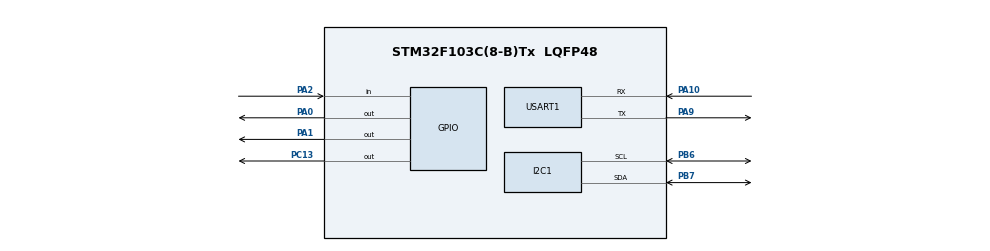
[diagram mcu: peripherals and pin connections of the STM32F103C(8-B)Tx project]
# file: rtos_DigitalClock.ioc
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I2C1.I2C_Mode=I2C_Standard
Mcu.Family=STM32F1
Mcu.Name=STM32F103C(8-B)Tx
Mcu.Package=LQFP48
NVIC.PriorityGroup=NVIC_PRIORITYGROUP_4
NVIC.TIM4_IRQn=true\:15\:0\:false\:false\:true\:false\:true\:true
NVIC.TimeBase=TIM4_IRQn
NVIC.TimeBaseIP=TIM4
PA0-WKUP.Signal=GPIO_Output
PA1.Signal=GPIO_Output
PA10.Mode=Asynchronous
PA10.Signal=USART1_RX
PA2.Signal=GPIO_Input
PA9.Mode=Asynchronous
PA9.Signal=USART1_TX
PB6.Mode=I2C
PB6.Signal=I2C1_SCL
PB7.Mode=I2C
PB7.Signal=I2C1_SDA
PC13-TAMPER-RTC.Signal=GPIO_Output
ProjectManager.HeapSize=0x200
ProjectManager.StackSize=0x400
ProjectManager.TargetToolchain=STM32CubeIDE
RCC.APB1Freq_Value=8000000
RCC.APB2Freq_Value=8000000
RTC.Hours=15
RTC.Minutes=31
RTC.Month=RTC_MONTH_NOVEMBER
RTC.WeekDay=RTC_WEEKDAY_FRIDAY
USART1.VirtualMode=VM_ASYNC
VP_RTC_VS_RTC_Activate.Mode=RTC_Enabled
VP_RTC_VS_RTC_Calendar.Mode=RTC_Calendar
VP_SYS_VS_ND.Mode=No_Debug
VP_SYS_VS_tim4.Mode=TIM4
board=custom

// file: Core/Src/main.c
/* USER CODE BEGIN Header */
/**
  ******************************************************************************
  * @file           : main.c
  * @brief          : Main program body
  ******************************************************************************
  * @attention
  *
  * Copyright (c) 2025 STMicroelectronics.
  * All rights reserved.
  *
  * This software is licensed under terms that can be found in the LICENSE file
  * in the root directory of this software component.
  * If no LICENSE file comes with this software, it is provided AS-IS.
  *
  ******************************************************************************
  */
/* USER CODE END Header */
#include "main.h"

/* USER CODE BEGIN Includes */
#include "FreeRTOS.h"
#include "task.h"
#include "semphr.h"
#include "lcd.h"
/* USER CODE END Includes */

I2C_HandleTypeDef hi2c1;

RTC_HandleTypeDef hrtc;

UART_HandleTypeDef huart1;

/* USER CODE BEGIN PV */
RTC_TimeTypeDef gTime;

//typedef struct {
//	uint8_t hour_up;
//	uint8_t hour_low;
//	uint8_t min_up;
//	uint8_t min_low;
//	uint8_t sec_up;
//	uint8_t sec_low;
//ime;
//
//Time time;

uint8_t time[11]={'0','0',':','0','0',':','0','0','\0','\n','\r'};

/* USER CODE END PV */

void SystemClock_Config(void);
static void MX_GPIO_Init(void);
static void MX_I2C1_Init(void);
static void MX_RTC_Init(void);
static void MX_USART1_UART_Init(void);
/* USER CODE BEGIN PFP */
void RTC_handler(void *pvparameter);
void RTC_ProceesData_handler(void *pvparameter);
void Uart_handler(void *pvparameter);
void Lcd_handler(void *pvparameter);
/* USER CODE END PFP */

/* USER CODE BEGIN 0 */
TaskHandle_t RTC_handle,RTC_ProceesData_handle,Uart_handle,Lcd_handle;
SemaphoreHandle_t mutex_RTC_rawData,mutex_Time;

/* USER CODE END 0 */

int main(void)
{

  /* USER CODE BEGIN 1 */
	BaseType_t status;
  /* USER CODE END 1 */

  /* MCU Configuration--------------------------------------------------------*/

  /* Reset of all peripherals, Initializes the Flash interface and the Systick. */
  HAL_Init();

  /* Configure the system clock */
  SystemClock_Config();

  /* Initialize all configured peripherals */
  MX_GPIO_Init();
  MX_I2C1_Init();
  MX_RTC_Init();
  MX_USART1_UART_Init();
  /* USER CODE BEGIN 2 */
  	  status = xTaskCreate(RTC_handler, "periodicled_task", 200, NULL, 3, &RTC_handle);
      configASSERT(status == pdPASS);

      status = xTaskCreate(RTC_ProceesData_handler, "button_task",200, NULL, 2, &RTC_ProceesData_handle);
      configASSERT(status == pdPASS);

//      status = xTaskCreate(Uart_handler, "mutexgive_task",200, NULL, 1, &Uart_handle);
//      configASSERT(status == pdPASS);
//
//      status = xTaskCreate(Lcd_handler, "mutexgive_task",200, NULL, 1, &Lcd_handle);
//      configASSERT(status == pdPASS);

      mutex_RTC_rawData = xSemaphoreCreateMutex();
      mutex_Time= xSemaphoreCreateMutex();

      vTaskStartScheduler();
  /* USER CODE END 2 */

  /* Infinite loop */
  while (1)
  {

  }
}

void SystemClock_Config(void)
{
  RCC_OscInitTypeDef RCC_OscInitStruct = {0};
  RCC_ClkInitTypeDef RCC_ClkInitStruct = {0};
  RCC_PeriphCLKInitTypeDef PeriphClkInit = {0};

  /** Initializes the RCC Oscillators according to the specified parameters
  * in the RCC_OscInitTypeDef structure.
  */
  RCC_OscInitStruct.OscillatorType = RCC_OSCILLATORTYPE_HSI|RCC_OSCILLATORTYPE_LSI;
  RCC_OscInitStruct.HSIState = RCC_HSI_ON;
  RCC_OscInitStruct.HSICalibrationValue = RCC_HSICALIBRATION_DEFAULT;
  RCC_OscInitStruct.LSIState = RCC_LSI_ON;
  RCC_OscInitStruct.PLL.PLLState = RCC_PLL_NONE;
  if (HAL_RCC_OscConfig(&RCC_OscInitStruct) != HAL_OK)
  {
    Error_Handler();
  }

  /** Initializes the CPU, AHB and APB buses clocks
  */
  RCC_ClkInitStruct.ClockType = RCC_CLOCKTYPE_HCLK|RCC_CLOCKTYPE_SYSCLK
                              |RCC_CLOCKTYPE_PCLK1|RCC_CLOCKTYPE_PCLK2;
  RCC_ClkInitStruct.SYSCLKSource = RCC_SYSCLKSOURCE_HSI;
  RCC_ClkInitStruct.AHBCLKDivider = RCC_SYSCLK_DIV1;
  RCC_ClkInitStruct.APB1CLKDivider = RCC_HCLK_DIV1;
  RCC_ClkInitStruct.APB2CLKDivider = RCC_HCLK_DIV1;

  if (HAL_RCC_ClockConfig(&RCC_ClkInitStruct, FLASH_LATENCY_0) != HAL_OK)
  {
    Error_Handler();
  }
  PeriphClkInit.PeriphClockSelection = RCC_PERIPHCLK_RTC;
  PeriphClkInit.RTCClockSelection = RCC_RTCCLKSOURCE_LSI;
  if (HAL_RCCEx_PeriphCLKConfig(&PeriphClkInit) != HAL_OK)
  {
    Error_Handler();
  }
}

static void MX_I2C1_Init(void)
{

  hi2c1.Instance = I2C1;
  hi2c1.Init.ClockSpeed = 100000;
  hi2c1.Init.DutyCycle = I2C_DUTYCYCLE_2;
  hi2c1.Init.OwnAddress1 = 0;
  hi2c1.Init.AddressingMode = I2C_ADDRESSINGMODE_7BIT;
  hi2c1.Init.DualAddressMode = I2C_DUALADDRESS_DISABLE;
  hi2c1.Init.OwnAddress2 = 0;
  hi2c1.Init.GeneralCallMode = I2C_GENERALCALL_DISABLE;
  hi2c1.Init.NoStretchMode = I2C_NOSTRETCH_DISABLE;
  if (HAL_I2C_Init(&hi2c1) != HAL_OK)
  {
    Error_Handler();
  }

}

static void MX_RTC_Init(void)
{

  RTC_TimeTypeDef sTime = {0};
  RTC_DateTypeDef DateToUpdate = {0};

  /** Initialize RTC Only
  */
  hrtc.Instance = RTC;
  hrtc.Init.AsynchPrediv = RTC_AUTO_1_SECOND;
  hrtc.Init.OutPut = RTC_OUTPUTSOURCE_ALARM;
  if (HAL_RTC_Init(&hrtc) != HAL_OK)
  {
    Error_Handler();
  }

  /** Initialize RTC and set the Time and Date
  */
  sTime.Hours = 0x15;
  sTime.Minutes = 0x31;
  sTime.Seconds = 0x0;

  if (HAL_RTC_SetTime(&hrtc, &sTime, RTC_FORMAT_BCD) != HAL_OK)
  {
    Error_Handler();
  }
  DateToUpdate.WeekDay = RTC_WEEKDAY_FRIDAY;
  DateToUpdate.Month = RTC_MONTH_NOVEMBER;
  DateToUpdate.Date = 0x1;
  DateToUpdate.Year = 0x0;

  if (HAL_RTC_SetDate(&hrtc, &DateToUpdate, RTC_FORMAT_BCD) != HAL_OK)
  {
    Error_Handler();
  }

}

static void MX_USART1_UART_Init(void)
{

  huart1.Instance = USART1;
  huart1.Init.BaudRate = 115200;
  huart1.Init.WordLength = UART_WORDLENGTH_8B;
  huart1.Init.StopBits = UART_STOPBITS_1;
  huart1.Init.Parity = UART_PARITY_NONE;
  huart1.Init.Mode = UART_MODE_TX_RX;
  huart1.Init.HwFlowCtl = UART_HWCONTROL_NONE;
  huart1.Init.OverSampling = UART_OVERSAMPLING_16;
  if (HAL_UART_Init(&huart1) != HAL_OK)
  {
    Error_Handler();
  }

}

static void MX_GPIO_Init(void)
{
  GPIO_InitTypeDef GPIO_InitStruct = {0};

  /* GPIO Ports Clock Enable */
  __HAL_RCC_GPIOC_CLK_ENABLE();
  __HAL_RCC_GPIOA_CLK_ENABLE();
  __HAL_RCC_GPIOB_CLK_ENABLE();

  /*Configure GPIO pin Output Level */
  HAL_GPIO_WritePin(GPIOC, GPIO_PIN_13, GPIO_PIN_RESET);

  /*Configure GPIO pin Output Level */
  HAL_GPIO_WritePin(GPIOA, GPIO_PIN_0|GPIO_PIN_1, GPIO_PIN_RESET);

  /*Configure GPIO pin : PC13 */
  GPIO_InitStruct.Pin = GPIO_PIN_13;
  GPIO_InitStruct.Mode = GPIO_MODE_OUTPUT_PP;
  GPIO_InitStruct.Pull = GPIO_NOPULL;
  GPIO_InitStruct.Speed = GPIO_SPEED_FREQ_LOW;
  HAL_GPIO_Init(GPIOC, &GPIO_InitStruct);

  /*Configure GPIO pins : PA0 PA1 */
  GPIO_InitStruct.Pin = GPIO_PIN_0|GPIO_PIN_1;
  GPIO_InitStruct.Mode = GPIO_MODE_OUTPUT_PP;
  GPIO_InitStruct.Pull = GPIO_NOPULL;
  GPIO_InitStruct.Speed = GPIO_SPEED_FREQ_LOW;
  HAL_GPIO_Init(GPIOA, &GPIO_InitStruct);

  /*Configure GPIO pin : PA2 */
  GPIO_InitStruct.Pin = GPIO_PIN_2;
  GPIO_InitStruct.Mode = GPIO_MODE_INPUT;
  GPIO_InitStruct.Pull = GPIO_NOPULL;
  HAL_GPIO_Init(GPIOA, &GPIO_InitStruct);

}

/* USER CODE BEGIN 4 */
void RTC_handler(void *pvparameter){
	TickType_t period = xTaskGetTickCount();
	while(1){
		xSemaphoreTake(mutex_RTC_rawData,portMAX_DELAY);
		HAL_RTC_GetTime(&hrtc, &gTime, RTC_FORMAT_BCD);
		xSemaphoreGive(mutex_RTC_rawData);

		xTaskNotify(RTC_ProceesData_handle,0,eNoAction);
		xTaskDelayUntil(&period,pdMS_TO_TICKS(1000));
	}
}

void RTC_ProceesData_handler(void *pvparameter){
	uint8_t hours,min,sec;
	while(1){
		xTaskNotifyWait(0,0,NULL,portMAX_DELAY);

		xSemaphoreTake(mutex_RTC_rawData,portMAX_DELAY);
		hours = gTime.Hours;
		min = gTime.Minutes;
		sec= gTime.Seconds;
		xSemaphoreGive(mutex_RTC_rawData);

		xSemaphoreTake(mutex_Time,portMAX_DELAY);
		time[0] = ((hours&0xF0)>>4)+0x30;
		time[1] = (hours&0x0F)+0x30;
		time[3] = ((min&0xF0)>>4)+0x30;
		time[4] = (min&0x0F)+0x30;
		time[6] = ((sec&0xF0)>>4)+0x30;
		time[7] = (sec&0x0F)+0x30;
		xSemaphoreGive(mutex_Time);

		xTaskNotify(Uart_handle,0,eNoAction);
		xTaskNotify(Lcd_handle,0,eNoAction);
		HAL_UART_Transmit(&huart1, time, 11, 1000);
	}
}
void Uart_handler(void *pvparameter){

	while(1){
		xTaskNotifyWait(0,0,NULL,portMAX_DELAY);

		HAL_UART_Transmit(&huart1, "UART", 5, 1000);
//		SemaphoreTake(mutex_Time,portMAX_DELAY);
//
//		xSemaphoreGive(mutex_Time);
	}
}
void Lcd_handler(void *pvparameter){

	while(1){
		xTaskNotifyWait(0,0,NULL,portMAX_DELAY);

		HAL_UART_Transmit(&huart1, "LCD\n", 5, 1000);
	}
}
/* USER CODE END 4 */

void HAL_TIM_PeriodElapsedCallback(TIM_HandleTypeDef *htim)
{
  if (htim->Instance == TIM4)
  {
    HAL_IncTick();
  }
}

void Error_Handler(void)
{
  __disable_irq();
  while (1)
  {
  }
}
